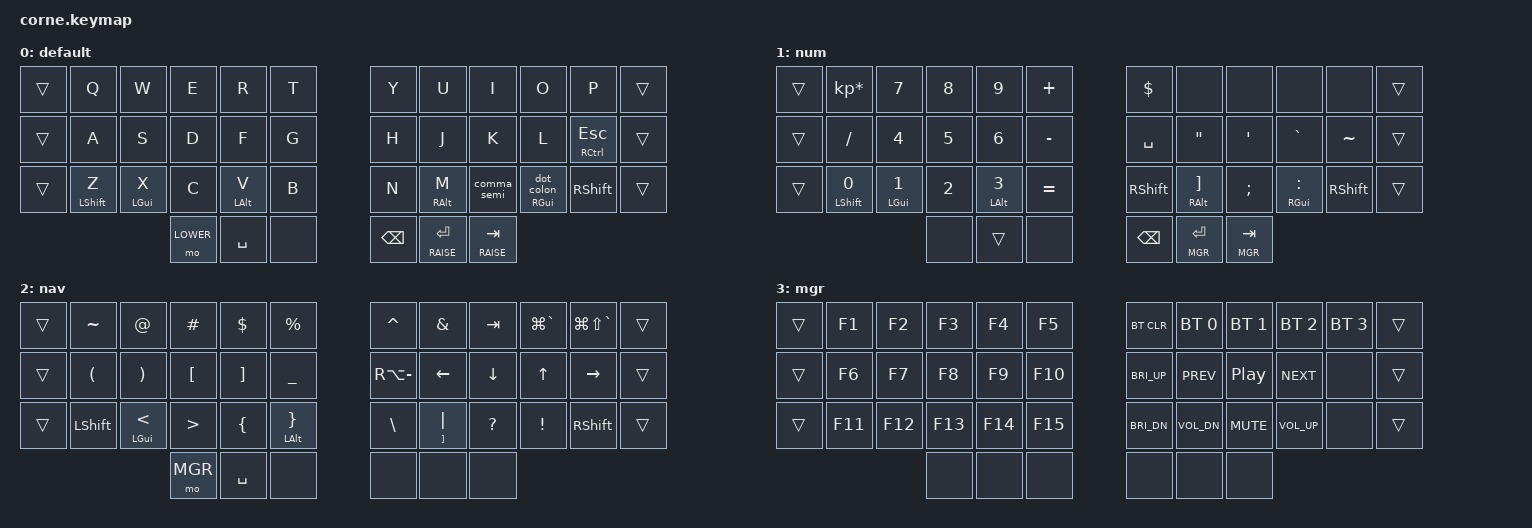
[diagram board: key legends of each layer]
/*
 * Jay's keyboard layout
 *
 * https://zmk.dev/docs/codes/keyboard-keypad
 *
 */

#include <behaviors.dtsi>
#include <dt-bindings/zmk/keys.h>
#include <dt-bindings/zmk/bt.h>

#define DEFAULT 0
#define LOWER   1
#define RAISE   2
#define MGR     3


/*
 * TESTS:
 *   cmd-shift 3    screen capture
 *   cmd-shift 4    screen box capture
 *   hold-cmd tab   app switch
 *   hold-cmd `     window switch
 *   ctrl-c         terminal clear line
 *   shift-down     select line/character
 *   cmd-shift-right  highlight to end of line  ???? TBC
 */


&lt {
	quick-tap-ms = <40>;
};
//	global-quick-tap;

/ {

        behaviors {
            hm: homerow_mods {
                compatible = "zmk,behavior-hold-tap";
                label = "HOMEROW_MODS";
                #binding-cells = <2>;
                tapping-term-ms = <275>;
		quick-tap-ms = <40>;
		global-quick-tap;
                flavor = "tap-preferred";
                bindings = <&kp>, <&kp>;
            };
            ht_hp: ht_hp_mods {
                compatible = "zmk,behavior-hold-tap";
                label = "HT_HP";
                #binding-cells = <2>;
                tapping-term-ms = <150>;
                flavor = "hold-preferred";
                bindings = <&kp>, <&kp>;
            };
            bhm: balanced_homerow_mods {
		compatible = "zmk,behavior-hold-tap";
		label = "thumb_hold";
		#binding-cells = <2>;
		tapping-term-ms = <200>;
		quick-tap-ms = <80>;
		global-quick-tap;
		flavor = "balanced";
		bindings = <&kp>, <&kp>;
            };
		dot_colon: dot_colon {
			compatible = "zmk,behavior-mod-morph";
			label = "DOT_COLON";
			#binding-cells = <0>;
			bindings = <&kp DOT>, <&kp COLON>;
			mods = <(MOD_LSFT|MOD_RSFT)>;
		};
		comma_semi: comma_semi {
			compatible = "zmk,behavior-mod-morph";
			label = "COMMA_SEMI";
			#binding-cells = <0>;
			bindings = <&kp COMMA>, <&kp SEMI>;
			mods = <(MOD_LSFT|MOD_RSFT)>;
		};
		ht_dc: holdtap_modmorph_dotcolon {
			compatible = "zmk,behavior-hold-tap";
			label = "HOLDTAP_MODMORPH_DOTCOLON";
			tapping-term-ms = <200>;
			quick-tap-ms = <150>;
			global-quick-tap;
			flavor = "balanced";
			#binding-cells = <2>;
			bindings = <&kp>, <&dot_colon>;
		};
        };

        keymap {
                compatible = "zmk,keymap";

                default_layer {
			label = "default";
//                               -----------------------------          ----------------------------------
//                              |  Q  |  W  |  E  |  R  |  T  |        |  Y  |  U   |  I   |  O  |  P     |
//                              |  A  |  S  |  D  |  F  |  G  |        |  H  |  J   |  K   |  L  |CTRL/ESC|
//                              |  Z ⇧|  X ⌘|  C ⌥|  V  |  B  |        |  N  |  M ⌥ |  ,   |  . ⌘|  ⇧     |
//                               -----------------------------          ----------------------------------
//                                          | NUM |SPC ␣|OPT ⌥|        |  ⌫  | RET ⏎| TAB ⇥|
//                                           -----------------          -------------------
//                                          |     |     |     |        |  ⌘  | NAV  | NAV  |
//                                           -----------------          -------------------
                        bindings = <
   &trans       &kp Q         &kp W         &kp E      &kp R         &kp T        &kp Y    &kp U        &kp I   &kp O          &kp P                        &trans
   &trans       &kp A         &kp S         &kp D      &kp F         &kp G        &kp H    &kp J        &kp K   &kp L          &bhm RCTRL ESC               &trans
   &trans       &bhm LSHFT Z  &bhm LGUI X   &kp C      &bhm LALT V   &kp B        &kp N    &bhm RALT M  &comma_semi  &ht_dc RGUI 0  &kp RSHFT               &trans
                                            &mo LOWER  &kp SPACE     &none        &kp BSPC &lt RAISE RET &lt RAISE TAB
                        >;
                };
                num_layer {
			label = "num";
//                                      -----------------------------         ----------------------------------
//                                     |   *  |  7  |  8  |  9  |  + |       |  $   |     ·|      |      |      |
//                                     |   /  |  4  |  5  |  6  |  - |       | SPC  |  "  ῾|  '  ᾽|   `  |  ~   |
//                                     |   0 ⇧|  1 ⌘|  2  |  3  |  = |       | SHFT |  ]  `|  ;  ´|  :  ¨|  ⌫  ⇧|
//                                      -----------------------------         ----------------------------------
//                                                  |     |     |    |       |   ⌘  | MGR  | MGR  |
//                                                   ----------------         --------------------
//                                                  |     |     |    |       | SPC ␣| RET ⏎| TAB ⇥|
//                                                   ----------------         --------------------
                        bindings = <
   &trans       &kp KP_MULTIPLY  &kp N7        &kp N8  &kp N9     &kp PLUS           &kp DLLR    &none            &none        &none             &none                 &trans
   &trans       &kp SLASH        &kp N4        &kp N5  &kp N6     &kp MINUS          &kp SPACE   &kp DQT          &kp SQT      &kp GRAVE         &kp TILDE             &trans
   &trans       &bhm LSHFT N0    &bhm LGUI N1  &kp N2  &bhm LALT N3   &kp EQUAL      &kp RSHFT   &bhm RALT RBKT   &kp SEMI     &bhm RGUI COLON   &kp RSHFT             &trans
                                                  &none   &trans   &none             &kp BSPC    &lt MGR RET      &lt MGR TAB
                        >;
                };

                nav_layer {
			label = "nav";
//                                     -----------------------------       --------------------------------
//                                    |  ~  |  @  |  #  |  $  |  %  |     |  ^  |  &   | TAB |  ⌘`  | ⌘⇧`  |
//                                    |  (  |  )  |  [ ῀|  ]  |  _  |     |  –  | LFT  | DWN |  UP  | RGT  |
//                                    |  ⇧  |  < ⌘|  >  |  { ι|  } `|     |  \  |  |   |  ?  |  !   | ⌫   ⇧|
//                                     -----------------------------       --------------------------------
//                                                | MGR |SPC ␣|OPT ⌥|     |     |      |     |
//                                                 -----------------       ------------------
//                                                | MGR |SPC ␣|SPC ␣|     |     |      |     |
//                                                 -----------------       ------------------
                        bindings = <
   &trans     &kp TILDE      &kp AT        &kp HASH   &kp DLLR    &kp PRCNT           &kp CARET     &kp AMPS        &kp TAB      &kp LG(GRAVE)  &kp LG(LS(GRAVE))    &trans
   &trans     &kp LPAR       &kp RPAR      &kp LBKT   &kp RBKT    &kp UNDER           &kp RA(MINUS) &kp LEFT        &kp DOWN     &kp UP     &kp RIGHT                &trans
   &trans     &kp LSHFT      &bhm LGUI LT  &kp GT     &kp LBRC    &bhm LALT RBRC      &kp BSLH      &bhm RBKT PIPE  &kp QMARK    &kp EXCL   &kp RSHFT                &trans
                                                         &mo MGR  &kp SPACE  &none         &none      &none      &none
                        >;
                };

                mgr_layer {
			label = "mgr";
//                                     --------------------------------       --------------------------------
//                                    |       |      |     |     |     |     |BTCLR| BT1  | BT2 | BT3  | BT4  |
//                                    |       |      |     |     |     |     |  S+ |  ⏮   |  ⏯  |  ⏭   |      |
//                                    |       |      |     |     |     |     |  S- |  V-  |  Vx |  V+  |      |
//                                     --------------------------------       --------------------------------
                        bindings = <
   &trans     &kp F1      &kp F2         &kp F3         &kp F4        &kp F5        &bt BT_CLR     &bt BT_SEL 0  &bt BT_SEL 1      &bt BT_SEL 2   &bt BT_SEL 3   &trans
   &trans     &kp F6      &kp F7         &kp F8         &kp F9        &kp F10       &kp C_BRI_UP   &kp C_PREV    &kp C_PLAY_PAUSE  &kp C_NEXT     &none          &trans
   &trans     &kp F11     &kp F12        &kp F13        &kp F14       &kp F15       &kp C_BRI_DN   &kp C_VOL_DN  &kp C_MUTE        &kp C_VOL_UP   &none          &trans
                                         &none          &none         &none         &none    &none   &none
                        >;
                };

        };
};
